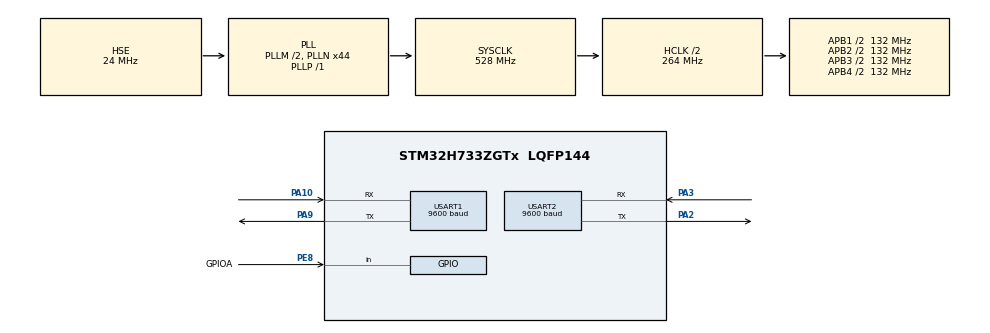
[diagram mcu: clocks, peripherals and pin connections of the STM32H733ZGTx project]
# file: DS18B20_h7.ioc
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CORTEX_M7.default_mode_Activation=1
Mcu.Family=STM32H7
Mcu.Name=STM32H733ZGTx
Mcu.Package=LQFP144
NVIC.PriorityGroup=NVIC_PRIORITYGROUP_4
PA10.Mode=Asynchronous
PA10.Signal=USART1_RX
PA2.Mode=Asynchronous
PA2.Signal=USART2_TX
PA3.Mode=Asynchronous
PA3.Signal=USART2_RX
PA9.Mode=Asynchronous
PA9.Signal=USART1_TX
PE8.GPIO_Label=GPIOA
PE8.Signal=GPIO_Input
PH0-OSC_IN.Mode=HSE-External-Oscillator
PH0-OSC_IN.Signal=RCC_OSC_IN
PH1-OSC_OUT.Mode=HSE-External-Oscillator
PH1-OSC_OUT.Signal=RCC_OSC_OUT
ProjectManager.HeapSize=0x200
ProjectManager.StackSize=0x400
ProjectManager.TargetToolchain=STM32CubeIDE
RCC.ADCFreq_Value=48375000
RCC.APB1Freq_Value=132000000
RCC.APB2Freq_Value=132000000
RCC.APB3Freq_Value=132000000
RCC.APB4Freq_Value=132000000
RCC.CortexFreq_Value=528000000
RCC.D1PPRE=RCC_APB3_DIV2
RCC.D2PPRE1=RCC_APB1_DIV2
RCC.D2PPRE2=RCC_APB2_DIV2
RCC.D3PPRE=RCC_APB4_DIV2
RCC.DIVM1=2
RCC.DIVN1=44
RCC.DIVP1=1
RCC.HCLKFreq_Value=264000000
RCC.HPRE=RCC_HCLK_DIV2
RCC.HSE_VALUE=24000000
RCC.PLL2FRACN=0
RCC.PLL3FRACN=0
RCC.PLLFRACN=0
RCC.PLLSourceVirtual=RCC_PLLSOURCE_HSE
RCC.SYSCLKFreq_VALUE=528000000
RCC.SYSCLKSource=RCC_SYSCLKSOURCE_PLLCLK
RCC.USBFreq_Value=264000000
USART1.BaudRate=9600
USART1.VirtualMode-Asynchronous=VM_ASYNC
USART2.BaudRate=9600
USART2.VirtualMode-Asynchronous=VM_ASYNC
VP_MEMORYMAP_VS_MEMORYMAP.Mode=CurAppReg
VP_TIM1_VS_ClockSourceINT.Mode=Internal
board=custom

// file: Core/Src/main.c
/* USER CODE BEGIN Header */
/**
  ******************************************************************************
  * @file           : main.c
  * @brief          : Main program body
  ******************************************************************************
  * @attention
  *
  * Copyright (c) 2025 STMicroelectronics.
  * All rights reserved.
  *
  * This software is licensed under terms that can be found in the LICENSE file
  * in the root directory of this software component.
  * If no LICENSE file comes with this software, it is provided AS-IS.
  *
  ******************************************************************************
  */
/* USER CODE END Header */
#include "main.h"

/* USER CODE BEGIN Includes */
#include "ds18b20.h"
/* USER CODE END Includes */

/* USER CODE BEGIN PD */
#define CORRECTION		6
#define LOW_LTC_CORRECTION		6	// Calibration to account for voltage drop through buffer resistors and LTC6802 variations
#define HIGH_LTC_CORRECTION		6	// Typical value is about 6 for both of these, but may be +/-3mV in some cases
#define BASE_ID	300 // Starting ID used for BMS module messaging to/from EVMS
#define USE_29BIT_IDS	0	// Or 0 for 11-bit IDs
enum {
	BMS12_REQUEST_DATA, BMS12_REPLY1, BMS12_REPLY2, BMS12_REPLY3, BMS12_REPLY4
};

#define true 1
#define false 0

#define COMMS_TIMEOUT	16

#define cellRegisters 18

#define maxCells 12

#define TEMPS 1 //For testing the ds18b20 readings disabling cell measurement

/* USER CODE END PD */

TIM_HandleTypeDef htim1;

UART_HandleTypeDef huart1;
UART_HandleTypeDef huart2;

/* USER CODE BEGIN PV */

float temp[38]; // In deg C

/* USER CODE END PV */

void SystemClock_Config(void);
static void MPU_Config(void);
static void MX_GPIO_Init(void);
static void MX_USART1_UART_Init(void);
static void MX_USART2_UART_Init(void);
static void MX_TIM1_Init(void);
/* USER CODE BEGIN PFP */
void Delay_us(uint16_t us);
//void SPIWrite(SPI_HandleTypeDef *hspi, uint8_t data);
//void SPIRead(SPI_HandleTypeDef *hspi, uint8_t cmd, uint8_t numRegisters,
//		uint8_t *const buff);
//void readCellValues(SPI_HandleTypeDef *hspi, uint8_t cmd, uint8_t numRegisters,
//		uint8_t *const buff);

/* USER CODE END PFP */

int main(void)
{

  /* USER CODE BEGIN 1 */
  TM_OneWire_t OneWire1;

  /* USER CODE END 1 */

  /* MPU Configuration--------------------------------------------------------*/
  MPU_Config();

  /* MCU Configuration--------------------------------------------------------*/

  /* Reset of all peripherals, Initializes the Flash interface and the Systick. */
  HAL_Init();

  /* Configure the system clock */
  SystemClock_Config();

  /* Initialize all configured peripherals */
  MX_GPIO_Init();
  MX_USART1_UART_Init();
  MX_USART2_UART_Init();
  MX_TIM1_Init();
  /* USER CODE BEGIN 2 */
	HAL_TIM_Base_Start_IT(&htim1);

	TM_OneWire_Init(&OneWire1, GPIOA_GPIO_Port, GPIOA_Pin);

	for (int n = 0; n < 38; n++)
		temp[n] = 0;

	uint8_t ds18b20_flag = 0;

	uint8_t devices, sensor_count, device[4][8];

	/* Check for any device on 1-wire bus*/

	devices = TM_OneWire_First(&OneWire1);
	sensor_count = 0;
	while (devices) {
		/* Increase count variable */
		sensor_count++;

		/* Get full 8-bytes rom address */
		TM_OneWire_GetFullROM(&OneWire1, device[sensor_count - 1]);

		/* Check for new device */
		devices = TM_OneWire_Next(&OneWire1);
	}

	//Set 9bit resolution for all sensors (93.75ms max conversion time)

	for (int i = 0; i < sensor_count; i++) {
		TM_DS18B20_SetResolution(&OneWire1, device[i],
				TM_DS18B20_Resolution_9bits);
	}

  /* USER CODE END 2 */

  /* Infinite loop */
  /* USER CODE BEGIN WHILE */
	while (1)
	{
		//Start temperature sampling on all devices
		TM_DS18B20_StartAll(&OneWire1);
		while (!TM_DS18B20_AllDone(&OneWire1));

		//Extract temperature data
		for (int i = 0; i < sensor_count; i++) {
			if (TM_DS18B20_Read(&OneWire1, device[i], &temp[i])) {
				ds18b20_flag = 1;
			}
		}
		#if TEMPS
			int loop;

			for(loop = 0; loop < 3; loop++)
			  printf("%d ", temp[loop]);
			HAL_GPIO_WritePin(GPIOA, GPIO_PIN_15, ds18b20_flag);
			HAL_Delay(500);
			HAL_GPIO_WritePin(GPIOA, GPIO_PIN_15, 0);
			HAL_Delay(500);
		#endif

    /* USER CODE END WHILE */

  }
}

void SystemClock_Config(void)
{
  RCC_OscInitTypeDef RCC_OscInitStruct = {0};
  RCC_ClkInitTypeDef RCC_ClkInitStruct = {0};

  /** Supply configuration update enable
  */
  HAL_PWREx_ConfigSupply(PWR_LDO_SUPPLY);

  /** Configure the main internal regulator output voltage
  */
  __HAL_PWR_VOLTAGESCALING_CONFIG(PWR_REGULATOR_VOLTAGE_SCALE0);

  while(!__HAL_PWR_GET_FLAG(PWR_FLAG_VOSRDY)) {}

  /** Initializes the RCC Oscillators according to the specified parameters
  * in the RCC_OscInitTypeDef structure.
  */
  RCC_OscInitStruct.OscillatorType = RCC_OSCILLATORTYPE_HSE;
  RCC_OscInitStruct.HSEState = RCC_HSE_ON;
  RCC_OscInitStruct.PLL.PLLState = RCC_PLL_ON;
  RCC_OscInitStruct.PLL.PLLSource = RCC_PLLSOURCE_HSE;
  RCC_OscInitStruct.PLL.PLLM = 2;
  RCC_OscInitStruct.PLL.PLLN = 44;
  RCC_OscInitStruct.PLL.PLLP = 1;
  RCC_OscInitStruct.PLL.PLLQ = 2;
  RCC_OscInitStruct.PLL.PLLR = 2;
  RCC_OscInitStruct.PLL.PLLRGE = RCC_PLL1VCIRANGE_3;
  RCC_OscInitStruct.PLL.PLLVCOSEL = RCC_PLL1VCOWIDE;
  RCC_OscInitStruct.PLL.PLLFRACN = 0;
  if (HAL_RCC_OscConfig(&RCC_OscInitStruct) != HAL_OK)
  {
    Error_Handler();
  }

  /** Initializes the CPU, AHB and APB buses clocks
  */
  RCC_ClkInitStruct.ClockType = RCC_CLOCKTYPE_HCLK|RCC_CLOCKTYPE_SYSCLK
                              |RCC_CLOCKTYPE_PCLK1|RCC_CLOCKTYPE_PCLK2
                              |RCC_CLOCKTYPE_D3PCLK1|RCC_CLOCKTYPE_D1PCLK1;
  RCC_ClkInitStruct.SYSCLKSource = RCC_SYSCLKSOURCE_PLLCLK;
  RCC_ClkInitStruct.SYSCLKDivider = RCC_SYSCLK_DIV1;
  RCC_ClkInitStruct.AHBCLKDivider = RCC_HCLK_DIV2;
  RCC_ClkInitStruct.APB3CLKDivider = RCC_APB3_DIV2;
  RCC_ClkInitStruct.APB1CLKDivider = RCC_APB1_DIV2;
  RCC_ClkInitStruct.APB2CLKDivider = RCC_APB2_DIV2;
  RCC_ClkInitStruct.APB4CLKDivider = RCC_APB4_DIV2;

  if (HAL_RCC_ClockConfig(&RCC_ClkInitStruct, FLASH_LATENCY_3) != HAL_OK)
  {
    Error_Handler();
  }
}

static void MX_TIM1_Init(void)
{

  TIM_ClockConfigTypeDef sClockSourceConfig = {0};
  TIM_MasterConfigTypeDef sMasterConfig = {0};

  htim1.Instance = TIM1;
  htim1.Init.Prescaler = 0;
  htim1.Init.CounterMode = TIM_COUNTERMODE_UP;
  htim1.Init.Period = 65535;
  htim1.Init.ClockDivision = TIM_CLOCKDIVISION_DIV1;
  htim1.Init.RepetitionCounter = 0;
  htim1.Init.AutoReloadPreload = TIM_AUTORELOAD_PRELOAD_DISABLE;
  if (HAL_TIM_Base_Init(&htim1) != HAL_OK)
  {
    Error_Handler();
  }
  sClockSourceConfig.ClockSource = TIM_CLOCKSOURCE_INTERNAL;
  if (HAL_TIM_ConfigClockSource(&htim1, &sClockSourceConfig) != HAL_OK)
  {
    Error_Handler();
  }
  sMasterConfig.MasterOutputTrigger = TIM_TRGO_RESET;
  sMasterConfig.MasterOutputTrigger2 = TIM_TRGO2_RESET;
  sMasterConfig.MasterSlaveMode = TIM_MASTERSLAVEMODE_DISABLE;
  if (HAL_TIMEx_MasterConfigSynchronization(&htim1, &sMasterConfig) != HAL_OK)
  {
    Error_Handler();
  }

}

static void MX_USART1_UART_Init(void)
{

  huart1.Instance = USART1;
  huart1.Init.BaudRate = 9600;
  huart1.Init.WordLength = UART_WORDLENGTH_8B;
  huart1.Init.StopBits = UART_STOPBITS_1;
  huart1.Init.Parity = UART_PARITY_NONE;
  huart1.Init.Mode = UART_MODE_TX_RX;
  huart1.Init.HwFlowCtl = UART_HWCONTROL_NONE;
  huart1.Init.OverSampling = UART_OVERSAMPLING_16;
  huart1.Init.OneBitSampling = UART_ONE_BIT_SAMPLE_DISABLE;
  huart1.Init.ClockPrescaler = UART_PRESCALER_DIV1;
  huart1.AdvancedInit.AdvFeatureInit = UART_ADVFEATURE_NO_INIT;
  if (HAL_UART_Init(&huart1) != HAL_OK)
  {
    Error_Handler();
  }
  if (HAL_UARTEx_SetTxFifoThreshold(&huart1, UART_TXFIFO_THRESHOLD_1_8) != HAL_OK)
  {
    Error_Handler();
  }
  if (HAL_UARTEx_SetRxFifoThreshold(&huart1, UART_RXFIFO_THRESHOLD_1_8) != HAL_OK)
  {
    Error_Handler();
  }
  if (HAL_UARTEx_DisableFifoMode(&huart1) != HAL_OK)
  {
    Error_Handler();
  }

}

static void MX_USART2_UART_Init(void)
{

  huart2.Instance = USART2;
  huart2.Init.BaudRate = 9600;
  huart2.Init.WordLength = UART_WORDLENGTH_8B;
  huart2.Init.StopBits = UART_STOPBITS_1;
  huart2.Init.Parity = UART_PARITY_NONE;
  huart2.Init.Mode = UART_MODE_TX_RX;
  huart2.Init.HwFlowCtl = UART_HWCONTROL_NONE;
  huart2.Init.OverSampling = UART_OVERSAMPLING_16;
  huart2.Init.OneBitSampling = UART_ONE_BIT_SAMPLE_DISABLE;
  huart2.Init.ClockPrescaler = UART_PRESCALER_DIV1;
  huart2.AdvancedInit.AdvFeatureInit = UART_ADVFEATURE_NO_INIT;
  if (HAL_UART_Init(&huart2) != HAL_OK)
  {
    Error_Handler();
  }
  if (HAL_UARTEx_SetTxFifoThreshold(&huart2, UART_TXFIFO_THRESHOLD_1_8) != HAL_OK)
  {
    Error_Handler();
  }
  if (HAL_UARTEx_SetRxFifoThreshold(&huart2, UART_RXFIFO_THRESHOLD_1_8) != HAL_OK)
  {
    Error_Handler();
  }
  if (HAL_UARTEx_DisableFifoMode(&huart2) != HAL_OK)
  {
    Error_Handler();
  }

}

static void MX_GPIO_Init(void)
{
  GPIO_InitTypeDef GPIO_InitStruct = {0};

  /* GPIO Ports Clock Enable */
  __HAL_RCC_GPIOH_CLK_ENABLE();
  __HAL_RCC_GPIOA_CLK_ENABLE();
  __HAL_RCC_GPIOE_CLK_ENABLE();

  /*Configure GPIO pin : GPIOA_Pin */
  GPIO_InitStruct.Pin = GPIOA_Pin;
  GPIO_InitStruct.Mode = GPIO_MODE_INPUT;
  GPIO_InitStruct.Pull = GPIO_NOPULL;
  HAL_GPIO_Init(GPIOA_GPIO_Port, &GPIO_InitStruct);

}

/* USER CODE BEGIN 4 */

void Delay_us(uint16_t us) {
	__HAL_TIM_SET_COUNTER(&htim1, 0);
	while (__HAL_TIM_GET_COUNTER(&htim1) < us)
		;
}

/* USER CODE END 4 */

 /* MPU Configuration */

void MPU_Config(void)
{
  MPU_Region_InitTypeDef MPU_InitStruct = {0};

  /* Disables the MPU */
  HAL_MPU_Disable();

  /** Initializes and configures the Region and the memory to be protected
  */
  MPU_InitStruct.Enable = MPU_REGION_ENABLE;
  MPU_InitStruct.Number = MPU_REGION_NUMBER0;
  MPU_InitStruct.BaseAddress = 0x0;
  MPU_InitStruct.Size = MPU_REGION_SIZE_4GB;
  MPU_InitStruct.SubRegionDisable = 0x87;
  MPU_InitStruct.TypeExtField = MPU_TEX_LEVEL0;
  MPU_InitStruct.AccessPermission = MPU_REGION_NO_ACCESS;
  MPU_InitStruct.DisableExec = MPU_INSTRUCTION_ACCESS_DISABLE;
  MPU_InitStruct.IsShareable = MPU_ACCESS_SHAREABLE;
  MPU_InitStruct.IsCacheable = MPU_ACCESS_NOT_CACHEABLE;
  MPU_InitStruct.IsBufferable = MPU_ACCESS_NOT_BUFFERABLE;

  HAL_MPU_ConfigRegion(&MPU_InitStruct);
  /* Enables the MPU */
  HAL_MPU_Enable(MPU_PRIVILEGED_DEFAULT);

}

void Error_Handler(void)
{
  __disable_irq();
  while (1)
  {
  }
}
